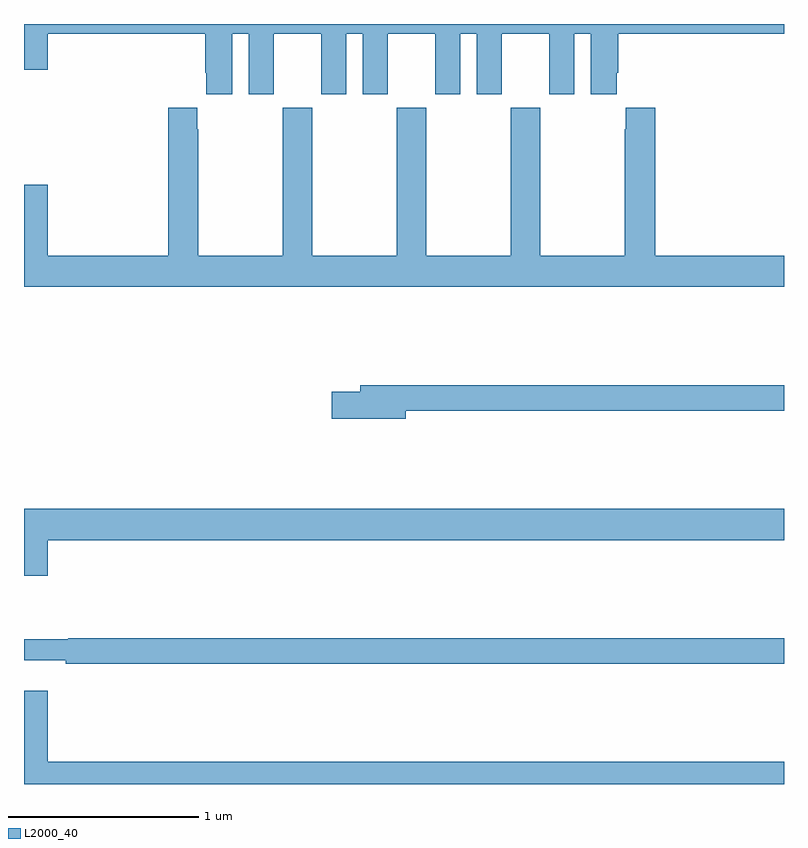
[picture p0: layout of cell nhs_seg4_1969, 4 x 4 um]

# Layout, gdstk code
import gdstk
lib = gdstk.Library(unit=1e-6, precision=1e-09)
def P(c, l, *ps):  # polygons
    for p in ps: c.add(gdstk.Polygon(p, *l))
L2000_40 = (2000, 40)

nhs_seg4_1969 = lib.new_cell('nhs_seg4_1969')
P(nhs_seg4_1969, L2000_40, [(214.096,768.848),(214.184,768.848),(214.184,768.531),(214.315,768.531),(214.315,768.848),(214.565,768.848),(214.565,768.531),(214.696,768.531),(214.696,768.848),(214.784,768.848),(214.784,768.531),(214.915,768.531),(214.915,768.848),(215.165,768.848),(215.165,768.531),(215.296,768.531),(215.296,768.848),(215.384,768.848),(215.384,768.531),(215.515,768.531),(215.515,768.848),(215.765,768.848),(215.765,768.531),(215.896,768.531),(215.896,768.848),(215.984,768.848),(215.984,768.531),(216.121,768.531),(216.121,768.643),(216.128,768.643),(216.128,768.848),(217,768.848),(217,768.9),(213,768.9),(213,768.66),(213.124,768.66),(213.124,768.848),(213.953,768.848),(213.953,768.643),(213.959,768.643),(213.959,768.531),(214.096,768.531)],
  [(217,767.68),(216.323,767.68),(216.323,768.46),(216.167,768.46),(216.167,768.347),(216.163,768.347),(216.163,767.68),(215.718,767.68),(215.718,768.46),(215.563,768.46),(215.563,767.68),(215.118,767.68),(215.118,768.46),(214.963,768.46),(214.963,767.68),(214.518,767.68),(214.518,768.46),(214.363,768.46),(214.363,767.68),(213.918,767.68),(213.918,768.347),(213.913,768.347),(213.913,768.46),(213.758,768.46),(213.758,767.68),(213.124,767.68),(213.124,768.055),(213,768.055),(213,767.516),(217,767.516)],
  [(215.008,766.864),(217,766.864),(217,767),(214.769,767),(214.769,766.964),(214.62,766.964),(214.62,766.822),(215.008,766.822)],
  [(213.124,766.184),(217,766.184),(217,766.348),(213,766.348),(213,765.996),(213.124,765.996)],
  [(217,765.668),(213.232,765.668),(213.232,765.661),(213,765.661),(213,765.551),(213.22,765.551),(213.22,765.532),(217,765.532)],
  [(217,765.016),(213.124,765.016),(213.124,765.391),(213,765.391),(213,764.9),(217,764.9)])

lib.write_gds('nhs_seg4_1969.gds')
